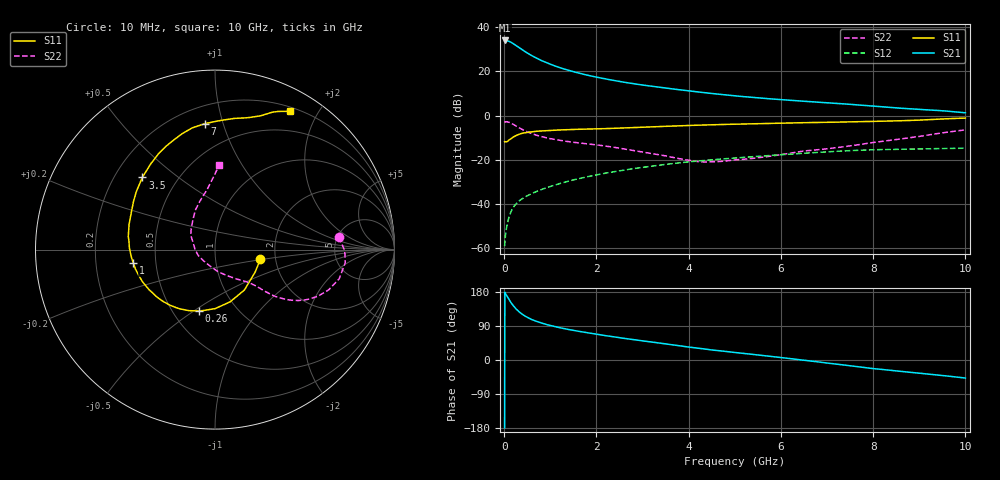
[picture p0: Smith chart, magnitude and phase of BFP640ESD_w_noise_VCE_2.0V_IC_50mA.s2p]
! Infineon Technologies  Discrete & RF Semiconductors
! BFP640ESD
! VCE =  2.0 V,  IC =  50 mA
! Common Emitter S-Parameters:  Jan 2016
# GHz  S  MA  R  50
!  f  S11  S21  S12  S22
! GHz  MAG  ANG  MAG  ANG  MAG  ANG  MAG  ANG
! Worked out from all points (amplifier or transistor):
!   233 points, 10 MHz to 10 GHz, reference 50 ohm
!   highest |S21| = 34.0 dB at 20 MHz (marker M1)
!   |S21| within 3 dB of that: start of sweep to 308.1 MHz
!   unconditionally stable (mu >= 1): start of sweep to 102.6 MHz; 847.7 MHz to 9.248 GHz
!   at 200 MHz: K = 0.77, MSG = 37.0 dB, |S12| = -41.5 dB
!   at 1.74 GHz: K = 1.11, MAG = 21.3 dB, |S12| = -28.0 dB
!   at 10 GHz: K = 0.88, MSG = 8.0 dB, |S12| = -14.8 dB
!   lowest NFmin = 1.46 dB at 450 MHz
!   S11 on the Smith chart (normalised r, x): 10 MHz: 1.66, -0.18; 260 MHz: 0.67, -0.52; 1 GHz: 0.37, -0.07; 3.5 GHz: 0.32, +0.38; 7 GHz: 0.31, +0.87; 10 GHz: 0.25, +1.66
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0.01  0.2558 -11.3  48.2 -179.2  0.0011 74.9  0.6944 5.8
0.02  0.2578 -13.3  50.28 176.9  0.0016 65.3  0.7229 -0.6
0.05  0.2563 -29.3  49.88 170.9  0.0028 66.0  0.7296 -5.8
0.1  0.2788 -54.1  48.6 160.5  0.0048 66.9  0.7108 -13.2
0.15  0.3032 -74.0  45.75 151.0  0.0067 65.7  0.672 -19.5
0.2  0.3288 -89.9  42.58 142.9  0.0084 64.1  0.629 -24.4
0.26  0.3536 -104.9  38.54 134.6  0.01 62.8  0.5783 -28.9
0.34  0.3823 -120.0  33.76 125.6  0.012 61.6  0.5172 -33.1
0.4  0.3983 -128.8  30.58 119.9  0.0132 61.0  0.479 -35.3
0.52  0.419 -142.0  25.47 111.5  0.0156 61.0  0.4194 -38.0
0.7  0.4414 -155.8  20 101.9  0.019 61.7  0.3584 -40.0
1  0.4616 -170.7  14.53 90.9  0.0247 63.0  0.2996 -41.9
1.3  0.4766 179.2  11.34 82.7  0.0307 63.3  0.2653 -44.1
1.68  0.4904 169.3  8.845 74.3  0.0386 62.7  0.236 -47.6
2.4  0.5144 154.2  6.178 60.7  0.0541 59.0  0.1899 -56.5
3.4  0.5643 136.8  4.327 44.1  0.0761 51.0  0.127 -80.0
3.5  0.5705 135.2  4.19 42.2  0.0783 50.3  0.1221 -83.4
5.1  0.6401 114.3  2.736 18.5  0.1114 35.2  0.1005 -165.2
6.8  0.6976 96.9  2.011 -4.9  0.1465 18.7  0.1685 142.5
7  0.7043 94.5  1.951 -8.0  0.151 16.7  0.1768 138.6
8.4  0.7532 77.0  1.518 -27.6  0.1708 -0.2  0.2773 108.4
10  0.8772 61.4  1.156 -47.6  0.1823 -15.5  0.4743 87.0
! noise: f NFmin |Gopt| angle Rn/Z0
0.45  1.46  0.32  -168  0.11
0.9  1.47  0.35  -163  0.09
1.9  1.52  0.36  -142  0.13
2.4  1.54  0.37  -134  0.14
5.5  1.81  0.52  -97  0.32
10  2.48  0.61  -71  1.22
